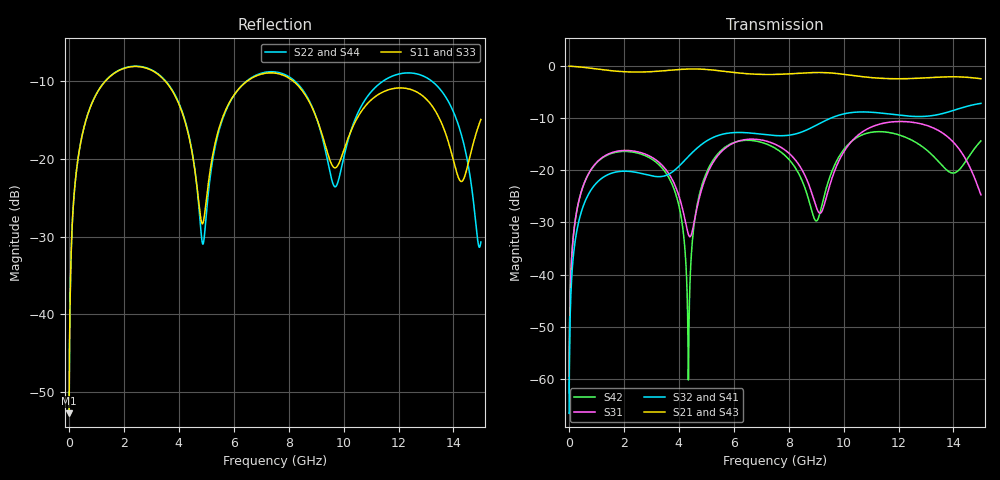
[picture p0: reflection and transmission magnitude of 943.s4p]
! Created with skrf 1.8.0 (http://scikit-rf.org).
# GHz S RI R 50.0
!freq ReS11 ImS11 ReS12 ImS12 ReS13 ImS13
! ReS14 ImS14
! ReS21 ImS21 ReS22 ImS22 ReS23 ImS23
! ReS24 ImS24
! ReS31 ImS31 ReS32 ImS32 ReS33 ImS33
! ReS34 ImS34
! ReS41 ImS41 ReS42 ImS42 ReS43 ImS43
! ReS44 ImS44
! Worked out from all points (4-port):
!   2499 points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, 5 MHz to 15 GHz, reference 50 ohm
!   strongest paths, dB at 5 MHz, 3.476 GHz, 7.19 GHz, 11.1 GHz, 15 GHz:
!     S21: 0.0, -0.9, -1.6, -2.2, -2.4
!     S43: 0.0, -0.9, -1.6, -2.3, -2.4
!     S32: -66.6, -21.1, -13.2, -8.9, -7.2
!     S41: -66.6, -21.1, -13.2, -8.9, -7.2
!     S31: -62.7, -19.5, -14.4, -11.5, -24.7
!     S42: -62.7, -20.1, -15.0, -12.6, -14.4
!   lowest |S11| = -52.7 dB at 5 MHz (marker M1), VSWR 1.00, Z = 50.2 + j0.141 ohm
!   |S11| at or under -10 dB: start of sweep to 1.323 GHz; 3.509 GHz to 6.486 GHz (2.978 GHz wide, 59.6 % of centre); 8.169 GHz to end of sweep
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0.005  0.00184 0.0014  0.9981 -0.00359  9.32e-05 0.000728  -9.05e-05 -0.000457
       0.9981 -0.00359  0.00184 0.0014  -9.05e-05 -0.000457  9.31e-05 0.000728
       9.32e-05 0.000728  -9.05e-05 -0.000457  0.00184 0.0014  0.9981 -0.00359
       -9.05e-05 -0.000457  9.31e-05 0.000728  0.9981 -0.00359  0.00184 0.0014
0.4126719  0.0452 0.1151  0.9368 -0.2872  0.0226 0.0532  -0.0183 -0.0321
           0.9368 -0.2872  0.0453 0.1151  -0.0183 -0.0321  0.0218 0.0535
           0.0226 0.0532  -0.0183 -0.0321  0.0452 0.1151  0.9368 -0.2872
           -0.0183 -0.0321  0.0218 0.0535  0.9368 -0.2872  0.0453 0.1151
2.075865  0.3785 0.0746  0.2069 -0.8567  0.1551 -0.00371  -0.0867 0.0458
          0.2069 -0.8567  0.3807 0.0706  -0.0867 0.0459  0.1512 0.012
          0.1551 -0.00371  -0.0867 0.0459  0.3784 0.0745  0.2069 -0.8567
          -0.0867 0.0458  0.1512 0.012  0.2069 -0.8567  0.3807 0.0706
4.345561  0.0783 -0.1216  -0.8548 -0.3837  -0.0211 -0.0124  -0.0513 0.1253
          -0.8548 -0.3837  0.0705 -0.1292  -0.0512 0.1253  0.000958 -0.000167
          -0.0211 -0.0124  -0.0512 0.1253  0.0772 -0.1215  -0.855 -0.3835
          -0.0513 0.1253  0.000958 -0.000167  -0.855 -0.3835  0.0712 -0.1284
5.47103  0.1039 0.1202  -0.8493 0.3041  0.0839 0.1163  0.0989 0.1934
         -0.8493 0.3041  0.0942 0.1215  0.0992 0.1936  0.0917 0.1172
         0.0839 0.1163  0.0992 0.1936  0.1026 0.1217  -0.849 0.3044
         0.0989 0.1934  0.0917 0.1172  -0.849 0.3044  0.0964 0.1218
9.79158  0.0905 0.00911  0.8412 0.0967  0.0171 0.116  0.0271 -0.3345
         0.8412 0.0967  0.0693 0.0149  0.0258 -0.3346  -0.00471 0.1293
         0.0171 0.116  0.0258 -0.3346  0.0918 0.00814  0.8411 0.097
         0.0271 -0.3345  -0.00471 0.1293  0.8411 0.097  0.0686 0.0136
15  0.1197 0.1338  -0.7566 -0.0173  -0.0545 0.0205  0.00137 0.4379
    -0.7566 -0.0173  0.0286 0.00616  0.00444 0.4387  0.1708 0.0865
    -0.0545 0.0205  0.00444 0.4387  0.1198 0.1296  -0.7569 -0.019
    0.00137 0.4379  0.1708 0.0865  -0.7569 -0.019  0.0304 0.00138
